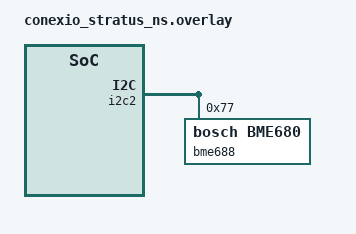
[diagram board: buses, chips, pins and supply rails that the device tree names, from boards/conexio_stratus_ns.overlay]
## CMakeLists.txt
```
#
# Copyright (c) 2018 Bosch Sensortec GmbH
#
# SPDX-License-Identifier: Apache-2.0
#

cmake_minimum_required(VERSION 3.20.0)
# Override BOARD_ROOT to always point at this SDK's boards/ directory.
# Using CACHE FORCE ensures this wins over any -DBOARD_ROOT passed by the IDE
# or build system, preventing "board defined multiple times" errors when
# multiple SDK versions are present in the environment.
set(BOARD_ROOT "${CMAKE_CURRENT_SOURCE_DIR}/../../.." CACHE PATH "" FORCE)

find_package(Zephyr REQUIRED HINTS $ENV{ZEPHYR_BASE})
project(bme680)

FILE(GLOB app_sources src/*.c)
target_sources(app PRIVATE ${app_sources})
```

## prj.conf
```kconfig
CONFIG_STDOUT_CONSOLE=y
CONFIG_I2C=y
CONFIG_SENSOR=y

# TF-M minimal profile (required when not using full TF-M PS/ITS/OTP storage)
CONFIG_TFM_PROFILE_TYPE_MINIMAL=y
```

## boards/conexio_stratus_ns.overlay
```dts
/*
 * Copyright (c) 2024 Conexio Technologies, Inc
 *
 * SPDX-License-Identifier: Apache-2.0
 */

/*
 * Stratus nRF9160 device overlay configuration for BME688 sensor connected to I2C port
 *
 */

#include <samples/cellular/nrf91_bootloader_partitions.dtsi>
#include <samples/cellular/nrf91_sram_partitions.dtsi>

&i2c2 {
	bme688@76 {
		compatible = "bosch,bme680";
		reg = <0x77>;
		status = "okay";
	};
};
```

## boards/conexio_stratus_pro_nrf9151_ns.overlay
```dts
/*
 * Copyright (c) 2024 Conexio Technologies, Inc
 *
 * SPDX-License-Identifier: Apache-2.0
 */

/*
 * Stratus Pro nRF9151 device overlay configuration for BME688 sensor connected to QWIIC port
 *
 */

#include <samples/cellular/nrf91_bootloader_partitions.dtsi>
#include <samples/cellular/nrf91_sram_partitions.dtsi>

&i2c2 {
	bme688@76 {
		compatible = "bosch,bme680";
		reg = <0x77>;
		status = "okay";
	};
};
```

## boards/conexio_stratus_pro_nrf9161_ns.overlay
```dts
/*
 * Copyright (c) 2024 Conexio Technologies, Inc
 *
 * SPDX-License-Identifier: Apache-2.0
 */

/*
 * Stratus Pro nRF9161 device overlay configuration for BME688 sensor connected to QWIIC port
 *
 */

#include <samples/cellular/nrf91_bootloader_partitions.dtsi>
#include <samples/cellular/nrf91_sram_partitions.dtsi>

&i2c2 {
	bme688@76 {
		compatible = "bosch,bme680";
		reg = <0x77>;
		status = "okay";
	};
};
```

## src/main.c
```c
/*
 * Copyright (c) 2018 Bosch Sensortec GmbH
 *
 * SPDX-License-Identifier: Apache-2.0
 */

#include <zephyr/kernel.h>
#include <zephyr/device.h>
#include <zephyr/drivers/sensor.h>
#include <stdio.h>

int main(void)
{
	const struct device *const dev = DEVICE_DT_GET_ONE(bosch_bme680);
	struct sensor_value temp, press, humidity, gas_res;

	if (!device_is_ready(dev)) {
		printk("sensor: device not ready.\n");
		return 0;
	}

	printf("Device %p name is %s\n", dev, dev->name);

#ifndef CONFIG_COVERAGE
	while (1) {
#else
	for (int i = 0; i < 5; i++) {
#endif
		k_sleep(K_MSEC(3000));

		sensor_sample_fetch(dev);
		sensor_channel_get(dev, SENSOR_CHAN_AMBIENT_TEMP, &temp);
		sensor_channel_get(dev, SENSOR_CHAN_PRESS, &press);
		sensor_channel_get(dev, SENSOR_CHAN_HUMIDITY, &humidity);
		sensor_channel_get(dev, SENSOR_CHAN_GAS_RES, &gas_res);

		printf("Temp: %d.%02d degC; Press: %d.%02d kPa; RH: %d.%02d %%; G: %d.%02d Ohm\n",
				temp.val1, temp.val2, press.val1, press.val2,
				humidity.val1, humidity.val2, gas_res.val1,
				gas_res.val2);
	}
	return 0;
}
```
